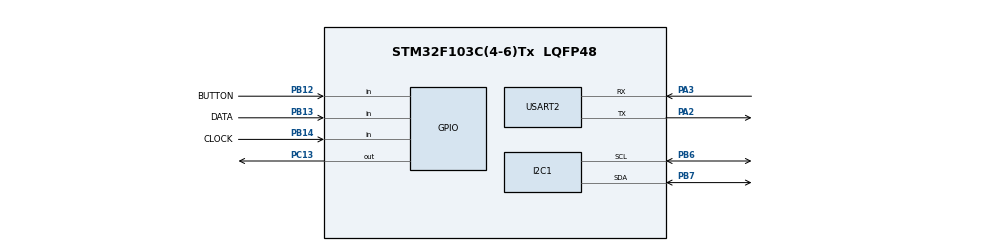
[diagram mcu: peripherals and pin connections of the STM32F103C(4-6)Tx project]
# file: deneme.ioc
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Mcu.Family=STM32F1
Mcu.Name=STM32F103C(4-6)Tx
Mcu.Package=LQFP48
NVIC.PriorityGroup=NVIC_PRIORITYGROUP_4
PA13.Mode=Serial_Wire
PA13.Signal=SYS_JTMS-SWDIO
PA14.Mode=Serial_Wire
PA14.Signal=SYS_JTCK-SWCLK
PA2.Mode=Asynchronous
PA2.Signal=USART2_TX
PA3.Mode=Asynchronous
PA3.Signal=USART2_RX
PB12.GPIO_Label=BUTTON
PB12.Signal=GPIO_Input
PB13.GPIO_Label=DATA
PB13.Signal=GPIO_Input
PB14.GPIO_Label=CLOCK
PB14.Signal=GPIO_Input
PB6.Mode=I2C
PB6.Signal=I2C1_SCL
PB7.Mode=I2C
PB7.Signal=I2C1_SDA
PC13-TAMPER-RTC.Signal=GPIO_Output
ProjectManager.HeapSize=0x200
ProjectManager.StackSize=0x400
ProjectManager.TargetToolchain=STM32CubeIDE
RCC.APB1Freq_Value=8000000
RCC.APB2Freq_Value=8000000
USART2.VirtualMode=VM_ASYNC
board=custom

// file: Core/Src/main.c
/* USER CODE BEGIN Header */
/**
  ******************************************************************************
  * @file           : main.c
  * @brief          : Main program body
  ******************************************************************************
  * @attention
  *
  * Copyright (c) 2024 STMicroelectronics.
  * All rights reserved.
  *
  * This software is licensed under terms that can be found in the LICENSE file
  * in the root directory of this software component.
  * If no LICENSE file comes with this software, it is provided AS-IS.
  *
  ******************************************************************************
  */
/* USER CODE END Header */
#include "main.h"

/* USER CODE BEGIN Includes */
#include <stdio.h>
#include <stdlib.h>
#include <string.h>
#include "lcd.h"
#include "switches.h"
/* USER CODE END Includes */

I2C_HandleTypeDef hi2c1;

UART_HandleTypeDef huart2;

void SystemClock_Config(void);
static void MX_GPIO_Init(void);
static void MX_USART2_UART_Init(void);
static void MX_I2C1_Init(void);

/* USER CODE BEGIN 0 */
uint8_t current_counter = 0, previous_counter = 0;
uint8_t head = 1, tail = 0, trigger = 0;

typedef void(*func)(char *title, char line[15]);

typedef struct{
    char title[10];
    int index;
    func f;
}Main_menu_item;
Main_menu_item main_menu[4]={};

void item0_f(char *title, char line[15]){
    sprintf(line,"%s %d","item0setted",0);
}
void item1_f(char *title, char line[15]){
    sprintf(line,"%s %d","item1setted",1);
}
void item2_f(char *title, char line[15]){
    sprintf(line,"%s %d","item2setted",2);
}
void item3_f(char *title, char line[15]){
    sprintf(line,"%s %d","item3setted",3);
}

typedef struct{
    uint8_t line0_index;
    uint8_t line1_index;
    uint8_t sign_index;
    char line0[15];
    char line1[15];
    int item_num;
}display_content;

display_content content;

void display_refresh(void){
	main_menu[content.line0_index].f(main_menu[content.line0_index].title, content.line0);
	main_menu[content.line1_index].f(main_menu[content.line1_index].title, content.line1);

	LCD_clear();

	LCD_set_cursor(content.sign_index, 15);
	LCD_write_string("<");

	LCD_set_cursor(0, 0);
	LCD_write_string(content.line0);

	LCD_set_cursor(1, 0);
	LCD_write_string(content.line1);
}

Main_menu_item item0={.title="item0", .index=0, .f = item0_f};
Main_menu_item item1={.title="item1", .index=1, .f = item1_f};
Main_menu_item item2={.title="item2", .index=2, .f = item2_f};
Main_menu_item item3={.title="item3", .index=3, .f = item3_f};

/*main_menu[0] = item0;
main_menu[1] = item1;
main_menu[2] = item2;
main_menu[3] = item3;*/

void main_menu_add_item(Main_menu_item *item){
	main_menu[content.item_num++] = *item;
}

void main_menu_init(void){
	  main_menu_add_item(&item0);
	  main_menu_add_item(&item1);
	  main_menu_add_item(&item2);
	  main_menu_add_item(&item3);

	  content.line0_index=0;
	  content.line1_index=1;
	  content.sign_index=0;

	  main_menu[content.line0_index].f(main_menu[content.line0_index].title, content.line0);
	  main_menu[content.line1_index].f(main_menu[content.line1_index].title, content.line1);
}
/* USER CODE END 0 */

int main(void)
{

  /* MCU Configuration--------------------------------------------------------*/

  /* Reset of all peripherals, Initializes the Flash interface and the Systick. */
  HAL_Init();

  /* Configure the system clock */
  SystemClock_Config();

  /* Initialize all configured peripherals */
  MX_GPIO_Init();
  MX_USART2_UART_Init();
  MX_I2C1_Init();
  /* USER CODE BEGIN 2 */

  LCD_init();
  LCD_backlight(1); // Turn on backlight

  main_menu_init();

  SysTick_Config(SystemCoreClock/1000);
  uint32_t prev_time = 0;
  /* USER CODE END 2 */

  /* Infinite loop */
  while (1)
  {

    /* USER CODE BEGIN 3 */
	  Switches_calcEncoder();
	  current_counter = Switches_getCounter();
	  if(current_counter > 3){
		  Switches_setCounter(3);
		  current_counter = 3;
	  }
	  else if(current_counter > previous_counter){
		  previous_counter = current_counter;

		  trigger++;
		  if(trigger > head){
			  head++;
			  tail++;
			  content.line0_index = content.line1_index;
			  content.line1_index = head;
		  }
		  if(content.sign_index == 0)
			  content.sign_index=1;
		  display_refresh();
	  }
	  else if(current_counter < previous_counter){

		  previous_counter = current_counter;

		  trigger--;
		  if(trigger < tail){
			  tail--;
			  head--;
			  content.line1_index = content.line0_index;
			  content.line0_index = tail;
		  }
		  if(content.sign_index == 1)
			  content.sign_index = 0;
		  display_refresh();
	  }

	  if((HAL_GetTick() - prev_time) > 2000){

		  prev_time = HAL_GetTick();
		  HAL_GPIO_TogglePin(GPIOC, GPIO_PIN_13);
		  display_refresh();

	  }
  }
  /* USER CODE END 3 */
}

void SystemClock_Config(void)
{
  RCC_OscInitTypeDef RCC_OscInitStruct = {0};
  RCC_ClkInitTypeDef RCC_ClkInitStruct = {0};

  /** Initializes the RCC Oscillators according to the specified parameters
  * in the RCC_OscInitTypeDef structure.
  */
  RCC_OscInitStruct.OscillatorType = RCC_OSCILLATORTYPE_HSI;
  RCC_OscInitStruct.HSIState = RCC_HSI_ON;
  RCC_OscInitStruct.HSICalibrationValue = RCC_HSICALIBRATION_DEFAULT;
  RCC_OscInitStruct.PLL.PLLState = RCC_PLL_NONE;
  if (HAL_RCC_OscConfig(&RCC_OscInitStruct) != HAL_OK)
  {
    Error_Handler();
  }

  /** Initializes the CPU, AHB and APB buses clocks
  */
  RCC_ClkInitStruct.ClockType = RCC_CLOCKTYPE_HCLK|RCC_CLOCKTYPE_SYSCLK
                              |RCC_CLOCKTYPE_PCLK1|RCC_CLOCKTYPE_PCLK2;
  RCC_ClkInitStruct.SYSCLKSource = RCC_SYSCLKSOURCE_HSI;
  RCC_ClkInitStruct.AHBCLKDivider = RCC_SYSCLK_DIV1;
  RCC_ClkInitStruct.APB1CLKDivider = RCC_HCLK_DIV1;
  RCC_ClkInitStruct.APB2CLKDivider = RCC_HCLK_DIV1;

  if (HAL_RCC_ClockConfig(&RCC_ClkInitStruct, FLASH_LATENCY_0) != HAL_OK)
  {
    Error_Handler();
  }
}

static void MX_I2C1_Init(void)
{

  hi2c1.Instance = I2C1;
  hi2c1.Init.ClockSpeed = 100000;
  hi2c1.Init.DutyCycle = I2C_DUTYCYCLE_2;
  hi2c1.Init.OwnAddress1 = 0;
  hi2c1.Init.AddressingMode = I2C_ADDRESSINGMODE_7BIT;
  hi2c1.Init.DualAddressMode = I2C_DUALADDRESS_DISABLE;
  hi2c1.Init.OwnAddress2 = 0;
  hi2c1.Init.GeneralCallMode = I2C_GENERALCALL_DISABLE;
  hi2c1.Init.NoStretchMode = I2C_NOSTRETCH_DISABLE;
  if (HAL_I2C_Init(&hi2c1) != HAL_OK)
  {
    Error_Handler();
  }

}

static void MX_USART2_UART_Init(void)
{

  huart2.Instance = USART2;
  huart2.Init.BaudRate = 115200;
  huart2.Init.WordLength = UART_WORDLENGTH_8B;
  huart2.Init.StopBits = UART_STOPBITS_1;
  huart2.Init.Parity = UART_PARITY_NONE;
  huart2.Init.Mode = UART_MODE_TX_RX;
  huart2.Init.HwFlowCtl = UART_HWCONTROL_NONE;
  huart2.Init.OverSampling = UART_OVERSAMPLING_16;
  if (HAL_UART_Init(&huart2) != HAL_OK)
  {
    Error_Handler();
  }

}

static void MX_GPIO_Init(void)
{
  GPIO_InitTypeDef GPIO_InitStruct = {0};

  /* GPIO Ports Clock Enable */
  __HAL_RCC_GPIOC_CLK_ENABLE();
  __HAL_RCC_GPIOA_CLK_ENABLE();
  __HAL_RCC_GPIOB_CLK_ENABLE();

  /*Configure GPIO pin Output Level */
  HAL_GPIO_WritePin(GPIOC, GPIO_PIN_13, GPIO_PIN_RESET);

  /*Configure GPIO pin : PC13 */
  GPIO_InitStruct.Pin = GPIO_PIN_13;
  GPIO_InitStruct.Mode = GPIO_MODE_OUTPUT_PP;
  GPIO_InitStruct.Pull = GPIO_NOPULL;
  GPIO_InitStruct.Speed = GPIO_SPEED_FREQ_LOW;
  HAL_GPIO_Init(GPIOC, &GPIO_InitStruct);

  /*Configure GPIO pins : BUTTON_Pin DATA_Pin CLOCK_Pin */
  GPIO_InitStruct.Pin = BUTTON_Pin|DATA_Pin|CLOCK_Pin;
  GPIO_InitStruct.Mode = GPIO_MODE_INPUT;
  GPIO_InitStruct.Pull = GPIO_NOPULL;
  HAL_GPIO_Init(GPIOB, &GPIO_InitStruct);

}

void Error_Handler(void)
{
  __disable_irq();
  while (1)
  {
  }
}
